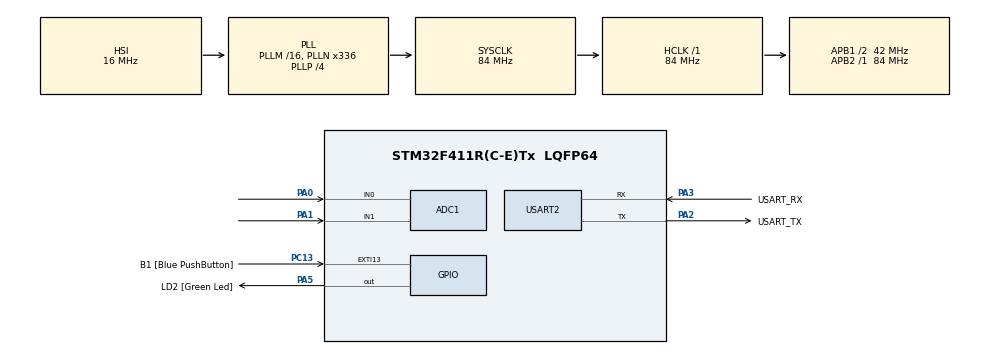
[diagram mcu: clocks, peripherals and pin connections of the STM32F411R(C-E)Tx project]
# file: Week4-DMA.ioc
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ADC1.Channel-0\#ChannelRegularConversion=ADC_CHANNEL_0
ADC1.Channel-1\#ChannelRegularConversion=ADC_CHANNEL_1
ADC1.Channel-2\#ChannelRegularConversion=ADC_CHANNEL_TEMPSENSOR
ADC1.Channel-3\#ChannelRegularConversion=ADC_CHANNEL_VREFINT
ADC1.ContinuousConvMode=ENABLE
ADC1.DMAContinuousRequests=ENABLE
ADC1.NbrOfConversion=4
ADC1.NbrOfConversionFlag=1
ADC1.Rank-0\#ChannelRegularConversion=1
ADC1.Rank-1\#ChannelRegularConversion=2
ADC1.Rank-2\#ChannelRegularConversion=3
ADC1.Rank-3\#ChannelRegularConversion=4
ADC1.SamplingTime-0\#ChannelRegularConversion=ADC_SAMPLETIME_480CYCLES
ADC1.SamplingTime-1\#ChannelRegularConversion=ADC_SAMPLETIME_480CYCLES
ADC1.SamplingTime-2\#ChannelRegularConversion=ADC_SAMPLETIME_480CYCLES
ADC1.SamplingTime-3\#ChannelRegularConversion=ADC_SAMPLETIME_480CYCLES
ADC1.ScanConvMode=ENABLE
ADC1.master=1
Dma.ADC1.0.Direction=DMA_PERIPH_TO_MEMORY
Dma.ADC1.0.FIFOMode=DMA_FIFOMODE_DISABLE
Dma.ADC1.0.Instance=DMA2_Stream0
Dma.ADC1.0.MemDataAlignment=DMA_MDATAALIGN_WORD
Dma.ADC1.0.MemInc=DMA_MINC_ENABLE
Dma.ADC1.0.Mode=DMA_CIRCULAR
Dma.ADC1.0.PeriphDataAlignment=DMA_PDATAALIGN_WORD
Dma.ADC1.0.PeriphInc=DMA_PINC_DISABLE
Dma.ADC1.0.Priority=DMA_PRIORITY_LOW
Dma.Request0=ADC1
Mcu.Family=STM32F4
Mcu.Name=STM32F411R(C-E)Tx
Mcu.Package=LQFP64
NVIC.ADC_IRQn=true\:0\:0\:false\:false\:true\:true\:true
NVIC.DMA2_Stream0_IRQn=true\:0\:0\:false\:false\:true\:false\:true
NVIC.EXTI15_10_IRQn=true\:0\:0\:false\:false\:true\:true\:true
NVIC.PriorityGroup=NVIC_PRIORITYGROUP_0
PA0-WKUP.Signal=ADCx_IN0
PA1.Signal=ADCx_IN1
PA13.GPIO_Label=TMS
PA13.Mode=Serial_Wire
PA13.Signal=SYS_JTMS-SWDIO
PA14.GPIO_Label=TCK
PA14.Mode=Serial_Wire
PA14.Signal=SYS_JTCK-SWCLK
PA2.GPIO_Label=USART_TX
PA2.Mode=Asynchronous
PA2.Signal=USART2_TX
PA3.GPIO_Label=USART_RX
PA3.Mode=Asynchronous
PA3.Signal=USART2_RX
PA5.GPIO_Label=LD2 [Green Led]
PA5.Signal=GPIO_Output
PB3.GPIO_Label=SWO
PB3.Signal=SYS_JTDO-SWO
PC13-ANTI_TAMP.GPIO_Label=B1 [Blue PushButton]
PC13-ANTI_TAMP.GPIO_ModeDefaultEXTI=GPIO_MODE_IT_RISING_FALLING
PC13-ANTI_TAMP.GPIO_PuPd=GPIO_PULLUP
PC13-ANTI_TAMP.Signal=GPXTI13
PC14-OSC32_IN.Mode=LSE-External-Oscillator
PC14-OSC32_IN.Signal=RCC_OSC32_IN
PC15-OSC32_OUT.Mode=LSE-External-Oscillator
PC15-OSC32_OUT.Signal=RCC_OSC32_OUT
PH0\ -\ OSC_IN.Mode=HSE-External-Clock-Source
PH0\ -\ OSC_IN.Signal=RCC_OSC_IN
PH1\ -\ OSC_OUT.Mode=HSE-External-Clock-Source
PH1\ -\ OSC_OUT.Signal=RCC_OSC_OUT
ProjectManager.HeapSize=0x200
ProjectManager.StackSize=0x400
ProjectManager.TargetToolchain=STM32CubeIDE
RCC.48MHZClocksFreq_Value=84000000
RCC.AHBFreq_Value=84000000
RCC.APB1CLKDivider=RCC_HCLK_DIV2
RCC.APB1Freq_Value=42000000
RCC.APB1TimFreq_Value=84000000
RCC.APB2Freq_Value=84000000
RCC.APB2TimFreq_Value=84000000
RCC.CortexFreq_Value=84000000
RCC.FLatency-AdvancedSettings=FLASH_LATENCY_2
RCC.HCLKFreq_Value=84000000
RCC.HSE_VALUE=8000000
RCC.HSI_VALUE=16000000
RCC.PLLN=336
RCC.PLLP=RCC_PLLP_DIV4
RCC.SYSCLKFreq_VALUE=84000000
RCC.SYSCLKSource=RCC_SYSCLKSOURCE_PLLCLK
RCC.VCOOutputFreq_Value=336000000
SH.ADCx_IN0.0=ADC1_IN0,IN0
SH.ADCx_IN1.0=ADC1_IN1,IN1
USART2.VirtualMode=VM_ASYNC
VP_ADC1_TempSens_Input.Mode=IN-TempSens
VP_ADC1_Vref_Input.Mode=IN-Vrefint
board=NUCLEO-F411RE

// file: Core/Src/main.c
/* USER CODE BEGIN Header */
/**
  ******************************************************************************
  * @file           : main.c
  * @brief          : Main program body
  ******************************************************************************
  * @attention
  *
  * <h2><center>&copy; Copyright (c) 2021 STMicroelectronics.
  * All rights reserved.</center></h2>
  *
  * This software component is licensed by ST under BSD 3-Clause license,
  * the "License"; You may not use this file except in compliance with the
  * License. You may obtain a copy of the License at:
  *                        opensource.org/licenses/BSD-3-Clause
  *
  ******************************************************************************
  */
/* USER CODE END Header */
#include "main.h"

ADC_HandleTypeDef hadc1;
DMA_HandleTypeDef hdma_adc1;

UART_HandleTypeDef huart2;

/* USER CODE BEGIN PV */
uint32_t ADCData[4]={0};
uint32_t TimeUpdate = 0;
uint32_t TimeGame = 0;
uint32_t TimeRandom = 0;
int Event = 0;
int Check = 0;
/* USER CODE END PV */

void SystemClock_Config(void);
static void MX_GPIO_Init(void);
static void MX_DMA_Init(void);
static void MX_USART2_UART_Init(void);
static void MX_ADC1_Init(void);
/* USER CODE BEGIN PFP */
void Game();
/* USER CODE END PFP */

int main(void)
{

  /* MCU Configuration--------------------------------------------------------*/

  /* Reset of all peripherals, Initializes the Flash interface and the Systick. */
  HAL_Init();

  /* Configure the system clock */
  SystemClock_Config();

  /* Initialize all configured peripherals */
  MX_GPIO_Init();
  MX_DMA_Init();
  MX_USART2_UART_Init();
  MX_ADC1_Init();
  /* USER CODE BEGIN 2 */
  HAL_ADC_Start_DMA(&hadc1, ADCData, 4);
  HAL_GPIO_WritePin(GPIOA, GPIO_PIN_5, SET);
  /* USER CODE END 2 */

  /* Infinite loop */
  while (1)
  {

    /* USER CODE BEGIN 3 */
	  Game();

  }
  /* USER CODE END 3 */
}

void SystemClock_Config(void)
{
  RCC_OscInitTypeDef RCC_OscInitStruct = {0};
  RCC_ClkInitTypeDef RCC_ClkInitStruct = {0};

  /** Configure the main internal regulator output voltage
  */
  __HAL_RCC_PWR_CLK_ENABLE();
  __HAL_PWR_VOLTAGESCALING_CONFIG(PWR_REGULATOR_VOLTAGE_SCALE1);
  /** Initializes the RCC Oscillators according to the specified parameters
  * in the RCC_OscInitTypeDef structure.
  */
  RCC_OscInitStruct.OscillatorType = RCC_OSCILLATORTYPE_HSI;
  RCC_OscInitStruct.HSIState = RCC_HSI_ON;
  RCC_OscInitStruct.HSICalibrationValue = RCC_HSICALIBRATION_DEFAULT;
  RCC_OscInitStruct.PLL.PLLState = RCC_PLL_ON;
  RCC_OscInitStruct.PLL.PLLSource = RCC_PLLSOURCE_HSI;
  RCC_OscInitStruct.PLL.PLLM = 16;
  RCC_OscInitStruct.PLL.PLLN = 336;
  RCC_OscInitStruct.PLL.PLLP = RCC_PLLP_DIV4;
  RCC_OscInitStruct.PLL.PLLQ = 4;
  if (HAL_RCC_OscConfig(&RCC_OscInitStruct) != HAL_OK)
  {
    Error_Handler();
  }
  /** Initializes the CPU, AHB and APB buses clocks
  */
  RCC_ClkInitStruct.ClockType = RCC_CLOCKTYPE_HCLK|RCC_CLOCKTYPE_SYSCLK
                              |RCC_CLOCKTYPE_PCLK1|RCC_CLOCKTYPE_PCLK2;
  RCC_ClkInitStruct.SYSCLKSource = RCC_SYSCLKSOURCE_PLLCLK;
  RCC_ClkInitStruct.AHBCLKDivider = RCC_SYSCLK_DIV1;
  RCC_ClkInitStruct.APB1CLKDivider = RCC_HCLK_DIV2;
  RCC_ClkInitStruct.APB2CLKDivider = RCC_HCLK_DIV1;

  if (HAL_RCC_ClockConfig(&RCC_ClkInitStruct, FLASH_LATENCY_2) != HAL_OK)
  {
    Error_Handler();
  }
}

static void MX_ADC1_Init(void)
{

  ADC_ChannelConfTypeDef sConfig = {0};

  /** Configure the global features of the ADC (Clock, Resolution, Data Alignment and number of conversion)
  */
  hadc1.Instance = ADC1;
  hadc1.Init.ClockPrescaler = ADC_CLOCK_SYNC_PCLK_DIV4;
  hadc1.Init.Resolution = ADC_RESOLUTION_12B;
  hadc1.Init.ScanConvMode = ENABLE;
  hadc1.Init.ContinuousConvMode = ENABLE;
  hadc1.Init.DiscontinuousConvMode = DISABLE;
  hadc1.Init.ExternalTrigConvEdge = ADC_EXTERNALTRIGCONVEDGE_NONE;
  hadc1.Init.ExternalTrigConv = ADC_SOFTWARE_START;
  hadc1.Init.DataAlign = ADC_DATAALIGN_RIGHT;
  hadc1.Init.NbrOfConversion = 4;
  hadc1.Init.DMAContinuousRequests = ENABLE;
  hadc1.Init.EOCSelection = ADC_EOC_SINGLE_CONV;
  if (HAL_ADC_Init(&hadc1) != HAL_OK)
  {
    Error_Handler();
  }
  /** Configure for the selected ADC regular channel its corresponding rank in the sequencer and its sample time.
  */
  sConfig.Channel = ADC_CHANNEL_0;
  sConfig.Rank = 1;
  sConfig.SamplingTime = ADC_SAMPLETIME_480CYCLES;
  if (HAL_ADC_ConfigChannel(&hadc1, &sConfig) != HAL_OK)
  {
    Error_Handler();
  }
  /** Configure for the selected ADC regular channel its corresponding rank in the sequencer and its sample time.
  */
  sConfig.Channel = ADC_CHANNEL_1;
  sConfig.Rank = 2;
  if (HAL_ADC_ConfigChannel(&hadc1, &sConfig) != HAL_OK)
  {
    Error_Handler();
  }
  /** Configure for the selected ADC regular channel its corresponding rank in the sequencer and its sample time.
  */
  sConfig.Channel = ADC_CHANNEL_TEMPSENSOR;
  sConfig.Rank = 3;
  if (HAL_ADC_ConfigChannel(&hadc1, &sConfig) != HAL_OK)
  {
    Error_Handler();
  }
  /** Configure for the selected ADC regular channel its corresponding rank in the sequencer and its sample time.
  */
  sConfig.Channel = ADC_CHANNEL_VREFINT;
  sConfig.Rank = 4;
  if (HAL_ADC_ConfigChannel(&hadc1, &sConfig) != HAL_OK)
  {
    Error_Handler();
  }

}

static void MX_USART2_UART_Init(void)
{

  huart2.Instance = USART2;
  huart2.Init.BaudRate = 115200;
  huart2.Init.WordLength = UART_WORDLENGTH_8B;
  huart2.Init.StopBits = UART_STOPBITS_1;
  huart2.Init.Parity = UART_PARITY_NONE;
  huart2.Init.Mode = UART_MODE_TX_RX;
  huart2.Init.HwFlowCtl = UART_HWCONTROL_NONE;
  huart2.Init.OverSampling = UART_OVERSAMPLING_16;
  if (HAL_UART_Init(&huart2) != HAL_OK)
  {
    Error_Handler();
  }

}

static void MX_DMA_Init(void)
{

  /* DMA controller clock enable */
  __HAL_RCC_DMA2_CLK_ENABLE();

  /* DMA interrupt init */
  /* DMA2_Stream0_IRQn interrupt configuration */
  HAL_NVIC_SetPriority(DMA2_Stream0_IRQn, 0, 0);
  HAL_NVIC_EnableIRQ(DMA2_Stream0_IRQn);

}

static void MX_GPIO_Init(void)
{
  GPIO_InitTypeDef GPIO_InitStruct = {0};

  /* GPIO Ports Clock Enable */
  __HAL_RCC_GPIOC_CLK_ENABLE();
  __HAL_RCC_GPIOH_CLK_ENABLE();
  __HAL_RCC_GPIOA_CLK_ENABLE();
  __HAL_RCC_GPIOB_CLK_ENABLE();

  /*Configure GPIO pin Output Level */
  HAL_GPIO_WritePin(LD2_GPIO_Port, LD2_Pin, GPIO_PIN_RESET);

  /*Configure GPIO pin : B1_Pin */
  GPIO_InitStruct.Pin = B1_Pin;
  GPIO_InitStruct.Mode = GPIO_MODE_IT_RISING_FALLING;
  GPIO_InitStruct.Pull = GPIO_PULLUP;
  HAL_GPIO_Init(B1_GPIO_Port, &GPIO_InitStruct);

  /*Configure GPIO pin : LD2_Pin */
  GPIO_InitStruct.Pin = LD2_Pin;
  GPIO_InitStruct.Mode = GPIO_MODE_OUTPUT_PP;
  GPIO_InitStruct.Pull = GPIO_NOPULL;
  GPIO_InitStruct.Speed = GPIO_SPEED_FREQ_LOW;
  HAL_GPIO_Init(LD2_GPIO_Port, &GPIO_InitStruct);

  /* EXTI interrupt init*/
  HAL_NVIC_SetPriority(EXTI15_10_IRQn, 0, 0);
  HAL_NVIC_EnableIRQ(EXTI15_10_IRQn);

}

/* USER CODE BEGIN 4 */
void HAL_GPIO_EXTI_Callback(uint16_t GPIO_Pin)
{
	if(GPIO_Pin == GPIO_PIN_13)
	{
		if(Event == 0)
		{
			TimeRandom = 1000+((22695477*ADCData[0])+ADCData[1])%10000;
			HAL_GPIO_TogglePin(LD2_GPIO_Port, LD2_Pin);
			Event = 1;
			TimeGame = 0;
		}
		else if(Event == 2)
		{
			if(HAL_GPIO_ReadPin(GPIOC, GPIO_PIN_13) == 1)
			{
				Check = 2;
				TimeGame = HAL_GetTick() - TimeUpdate ;
				HAL_GPIO_WritePin(GPIOA, GPIO_PIN_5, SET);
				Event = 0;
			}
		}
	}
}

void Game()
{
	if(Event == 1)
	{
		if(HAL_GetTick() - TimeUpdate >= TimeRandom)
		{
			Check = 1;
			TimeUpdate = HAL_GetTick();
			HAL_GPIO_WritePin(GPIOA, GPIO_PIN_5, SET);
			Event = 2;
		}
		if(HAL_GPIO_ReadPin(GPIOC, GPIO_PIN_13) == 1)
		{
			 Check = 3;
			 TimeGame = 0;
			 HAL_GPIO_WritePin(GPIOA, GPIO_PIN_5, SET);
			 Event = 0;
		}

	}
}

/* USER CODE END 4 */

void Error_Handler(void)
{
  __disable_irq();
  while (1)
  {
  }
}

/************************ (C) COPYRIGHT STMicroelectronics *****END OF FILE****/
